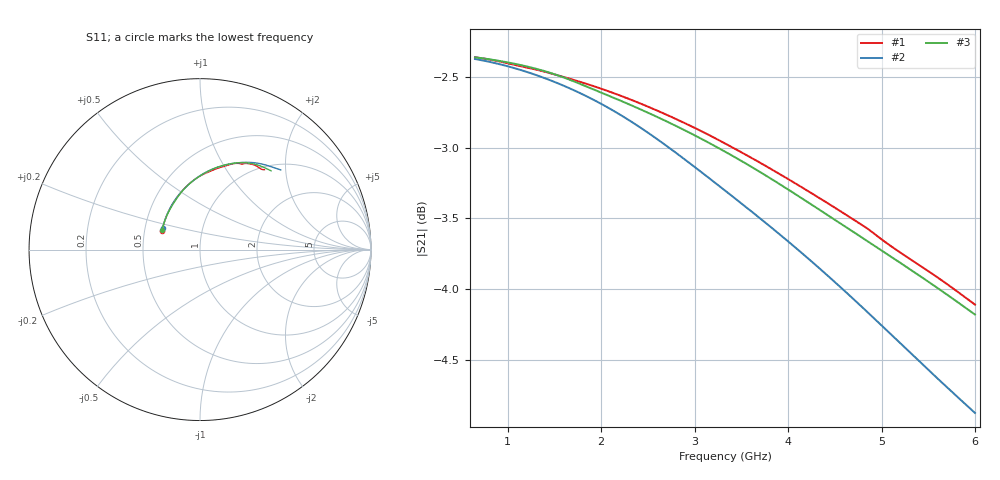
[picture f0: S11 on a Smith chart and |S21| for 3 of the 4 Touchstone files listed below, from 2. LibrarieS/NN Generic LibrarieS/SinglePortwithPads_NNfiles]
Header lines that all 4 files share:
! IGNION VIRTUAL ANTENNA LIBRARY
! Frequency range 0.65GHz to 6GHz, step 10MHz
! Number of ports 9
! Need more help? Your platform is much different than these examples in the manual? Use our
! Fast Track service (https://ignion.io/fast-track/), for free, and get a personalized antenna design in
! just 24 hours.
! Touchstone port 1 = "Series Port"
! Touchstone port 2 = "Shunt Port"
! Touchstone port 3 = "Series Port"
! Touchstone port 4 = "Shunt Port"
! Touchstone port 5 = "Series Port"
! Touchstone port 6 = "Shunt Port"
! Touchstone port 7 = "Series Port"
! Touchstone port 8 = "Shunt Port"
! Touchstone port 9 = "Series Port"
! IE3D S-Parameters Output Version 2.0
# GHZ S MA R 50
Fixed: Nport = 9
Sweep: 650 MHz to 6 GHz
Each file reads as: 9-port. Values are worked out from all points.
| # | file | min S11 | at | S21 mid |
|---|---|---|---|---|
| 1 | NN_ALL_B145x130_C45x24.s9p | -12.1 dB | 650 MHz | -3.0 dB at 3.33 GHz |
| 2 | NN_RUN_B30x30_C14x5.s9p | -11.9 dB | 650 MHz | -3.3 dB at 3.33 GHz |
| 3 | NN_RUN_B50x40_C40x11.s9p | -12.0 dB | 650 MHz | -3.0 dB at 3.33 GHz |
| 4 | NN_RUN_B145x130_C45x24.s9p | -12.1 dB | 650 MHz | -3.0 dB at 3.33 GHz |
